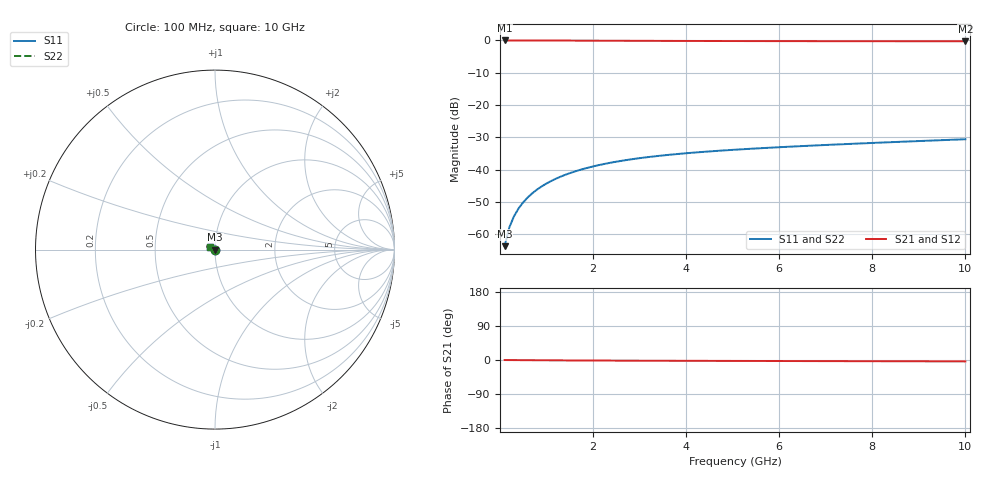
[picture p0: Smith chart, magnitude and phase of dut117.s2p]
! Touchstone file exported from HFSS 2024.1.0
!  File:  C:/UserFiles/LocalFiles/RDL_TSV_Batchsim/temp_TSV1_117_1779378540.aedt
!  Generated:  11:54:33 PM May 21, 2026
!  Design:  TSV1
!  Project:  temp_TSV1_117_1779378540
!  Setup:  Setup1
!  Solution:  Sweep
! Variables:
!  dtsv = 8.02um
!  hbump = 3um
!  htsv = 52.47um
!  lrdl = 252.1521522um
!  p = 40
!  p1 = 53.66um
!  t = 500um
!  trdl = 3um
!  wrdl = 24.89489489um
# GHz S MA R 50.000000
! Terminal data exported
! Port[1] = TSV22_T1
! Port[2] = TSV22_T2
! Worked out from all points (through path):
!   100 points, 100 MHz to 10 GHz, reference 50 ohm
!   highest |S21| = 0.00 dB at 100 MHz (marker M1); lowest = -0.3 dB at 10 GHz (marker M2)
!   lowest |S11| = -63.8 dB at 100 MHz (marker M3), VSWR 1.00, Z = 50 - j0.0631 ohm
!   |S11| at or under -10 dB: start of sweep to end of sweep
!   |S22| runs from -63.8 to -30.6 dB; largest |S21 - S12| = 3.2e-15
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0.1  0.000649 -76.4  0.9998 -0.1  0.9998 -0.1  0.000649 -76.4
! Gamma 0 0 0 0
! Port Impedance 50 0 50 0
0.2  0.00126 -86.5  0.9997 -0.2  0.9997 -0.2  0.00126 -86.5
0.3  0.001877 -91.4  0.9996 -0.2  0.9996 -0.2  0.001877 -91.4
0.4  0.002494 -95.0  0.9994 -0.3  0.9994 -0.3  0.002494 -95.0
0.5  0.003106 -98.0  0.9992 -0.4  0.9992 -0.4  0.003106 -98.0
0.6  0.003714 -100.8  0.9989 -0.5  0.9989 -0.5  0.003714 -100.8
0.7  0.004316 -103.3  0.9986 -0.6  0.9986 -0.6  0.004316 -103.3
0.8  0.00491 -105.8  0.9982 -0.6  0.9982 -0.6  0.00491 -105.8
0.9  0.005496 -108.1  0.9978 -0.7  0.9978 -0.7  0.005496 -108.1
1.1  0.006637 -112.6  0.9969 -0.9  0.9969 -0.9  0.006637 -112.6
1.4  0.008263 -119.0  0.9955 -1.1  0.9955 -1.1  0.008263 -119.0
1.6  0.009284 -123.0  0.9944 -1.2  0.9944 -1.2  0.009284 -123.0
1.8  0.01025 -126.9  0.9933 -1.3  0.9933 -1.3  0.01025 -126.9
2.1  0.0116 -132.4  0.9916 -1.4  0.9916 -1.4  0.0116 -132.4
2.5  0.01322 -139.2  0.9894 -1.6  0.9894 -1.6  0.01322 -139.2
2.9  0.01466 -145.5  0.9873 -1.8  0.9873 -1.8  0.01466 -145.5
3.4  0.01624 -152.7  0.9849 -2.0  0.9849 -2.0  0.01624 -152.7
4.2  0.01836 -162.8  0.9816 -2.2  0.9816 -2.2  0.01836 -162.8
5.1  0.02038 -172.5  0.9787 -2.5  0.9787 -2.5  0.02038 -172.5
6.7  0.02346 173.6  0.9752 -2.9  0.9752 -2.9  0.02346 173.6
8.4  0.02652 162.0  0.9727 -3.3  0.9727 -3.3  0.02652 162.0
10  0.02945 153.2  0.9711 -3.7  0.9711 -3.7  0.02945 153.2
